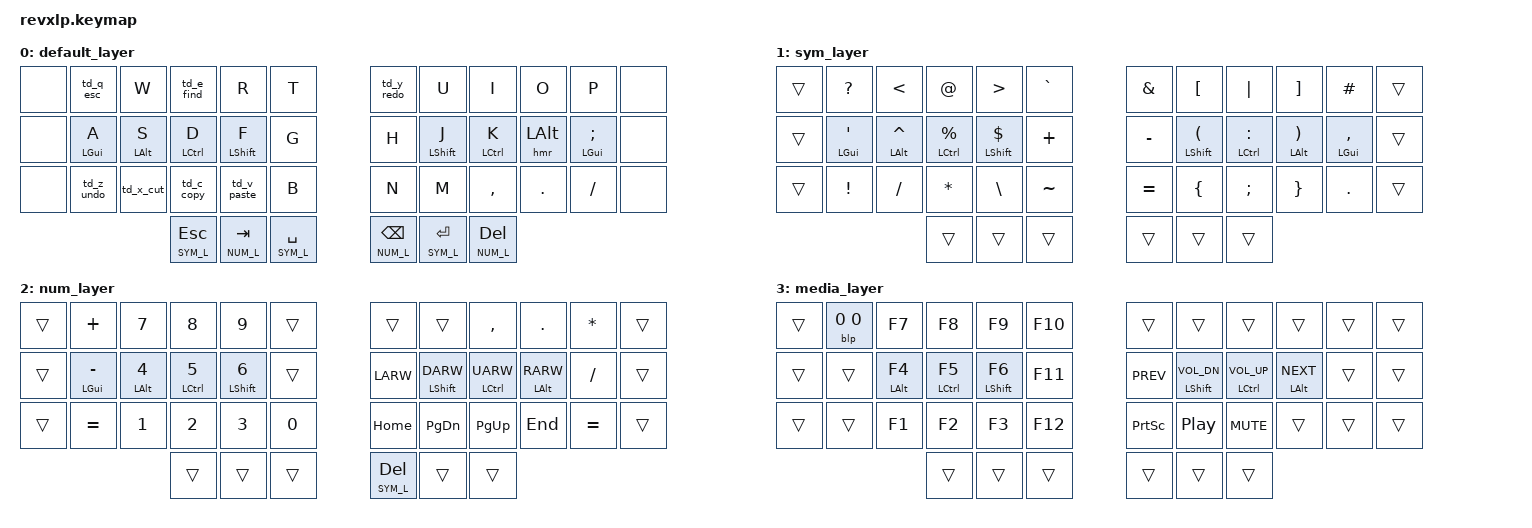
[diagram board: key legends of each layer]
/*
 * Copyright (c) 2020 The ZMK Contributors
 *
 * SPDX-License-Identifier: MIT
 */

#include <behaviors.dtsi>
#include <dt-bindings/zmk/keys.h>
#include <dt-bindings/zmk/bt.h>
#include <dt-bindings/zmk/backlight.h>
#include "../../../../helpers/keypos_42keys.h"
#include "../../../../helpers/zml_nodefree.h"
#include "../../../../helpers/tapdance.h"

#define SYM_L 1
#define NUM_L 2
#define MED_L 3

#define LEFT_HAND = LT0 LT1 LT2 LT3 LT4 LT5 LM0 LM1 LM2 LM3 LM4 LM5 LB0 LB1 LB2 LB3 LB4 LB5
#define RIGHT_HAND = RT0 RT1 RT2 RT3 RT4 RT5 RM0 RM1 RM2 RM3 RM4 RM5 RB0 RB1 RB2 RB3 RB4 RB5
#define THUMBS = LH0 LH1 LH2 RH0 RH1 RH2 

// TODO: setup the hyper
// #define HYPER LGUI(LSHFT(LCTRL(LALT(keycode))))

// COMBOS
ZMK_COMBO(bootloader_combo, &bootloader, LT5 RT0, MED_L)

// TAPDANCES
ZMK_TAP_DANCE(q_esc, Q, ESC)
ZMK_TAP_DANCE(e_find, E, K_FIND)
ZMK_TAP_DANCE(y_redo, Y, K_REDO)
ZMK_TAP_DANCE(z_undo, Z, K_UNDO)
ZMK_TAP_DANCE(x_cut, X, K_CUT)
ZMK_TAP_DANCE(c_copy, C, K_COPY)
ZMK_TAP_DANCE(v_paste, V, K_PASTE)

// CONDITIONAL
ZMK_CONDITIONAL_LAYER(NUM_L SYM_L, MED_L)

// BEHAVIORS
// REF: https://github.com/folke/zmk-config/blob/main/config/includes/mods.dtsi
// REF: https://github.com/urob/zmk-config
ZMK_BEHAVIOR(hml, hold_tap,
  #binding-cells = <2>; 
  bindings = <&kp>, <&kp>; 
  flavor = "balanced"; 
  tapping-term-ms = <280>; 
  quick-tap-ms = <175>; 
  require-prior-idle-ms = <150>; 
  hold-trigger-on-release;
  hold-trigger-key-positions = <RIGHT_HAND THUMBS>;
)

ZMK_BEHAVIOR(hmr, hold_tap,
  #binding-cells = <2>; 
  bindings = <&kp>, <&kp>; 
  flavor = "balanced"; 
  tapping-term-ms = <280>; 
  quick-tap-ms = <175>; 
  require-prior-idle-ms = <150>; 
  hold-trigger-on-release;
  hold-trigger-key-positions = <LEFT_HAND THUMBS>;
)

ZMK_BEHAVIOR(blp, hold_tap,
  #binding-cells = <2>;
  bindings = <&bootloader>, <&none>;
  tapping-term-ms = <3000>;
)

// LAYERS
ZMK_LAYER(default_layer,
&none  &td_q_esc       &kp W            &td_e_find          &kp R              &kp T            &td_y_redo      &kp U             &kp I           &kp O             &kp P            &none
&none  &hml LGUI A     &hml LALT S      &hml LCTRL D        &hml LSHFT F       &kp G            &kp H           &hmr LSHFT J      &hmr LCTRL K    &hmr LALT         &hmr LGUI SEMI   &none
&none  &td_z_undo      &td_x_cut        &td_c_copy          &td_v_paste        &kp B            &kp N           &kp M             &kp COMMA       &kp DOT           &kp SLASH        &none
                                        &lt SYM_L ESC       &lt NUM_L TAB      &lt SYM_L SPACE  &lt NUM_L BSPC  &lt SYM_L RET     &lt NUM_L DEL
)

ZMK_LAYER(sym_layer,
&trans &kp QUESTION    &kp LESS_THAN    &kp AT             &kp GREATER_THAN    &kp GRAVE       &kp AMPERSAND    &kp LEFT_BRACKET  &kp PIPE        &kp RIGHT_BRACKET &kp HASH        &trans
&trans &hml LGUI SQT   &hml LALT CARET  &hml LCTRL PERCENT &hml LSHFT DOLLAR   &kp PLUS        &kp MINUS        &hmr LSHFT LPAR   &hmr LCTRL COLON &hmr LALT RPAR   &hmr LGUI COMMA &trans
&trans &kp EXCLAMATION &kp SLASH        &kp ASTERISK       &kp BACKSLASH       &kp TILDE       &kp EQUAL        &kp LBRC          &kp SEMICOLON   &kp RBRC          &kp DOT         &trans
                                        &trans             &trans              &trans          &trans           &trans            &trans
)

ZMK_LAYER(num_layer,
&trans &kp PLUS        &kp N7           &kp N8             &kp N9              &trans          &trans           &trans            &kp COMMA        &kp DOT          &kp ASTERISK     &trans
&trans &hmr LGUI MINUS &hmr LALT N4     &hmr LCTRL N5      &hmr LSHFT N6       &trans          &kp LARW         &hmr LSHFT DARW   &hmr LCTRL UARW  &hmr LALT RARW   &kp SLASH        &trans
&trans &kp EQUAL       &kp N1           &kp N2             &kp N3              &kp N0          &kp HOME         &kp PG_DN         &kp PG_UP        &kp END          &kp EQUAL        &trans
                                        &trans             &trans              &trans          &lt SYM_L DEL    &trans            &trans
)

ZMK_LAYER(media_layer,
&trans &blp 0 0       &kp F7            &kp F8              &kp F9             &kp F10         &trans           &trans            &trans           &trans           &trans           &trans
&trans &trans         &hml LALT F4      &hml LCTRL F5       &hml LSHFT F6      &kp F11         &kp C_PREV       &hmr LSHFT C_VOL_DN &hmr LCTRL C_VOL_UP &hmr LALT C_NEXT &trans      &trans
&trans &trans         &kp F1            &kp F2              &kp F3             &kp F12         &kp PSCRN        &kp C_PLAY_PAUSE  &kp C_MUTE       &trans           &trans           &trans
                                        &trans              &trans             &trans          &trans           &trans            &trans
)
